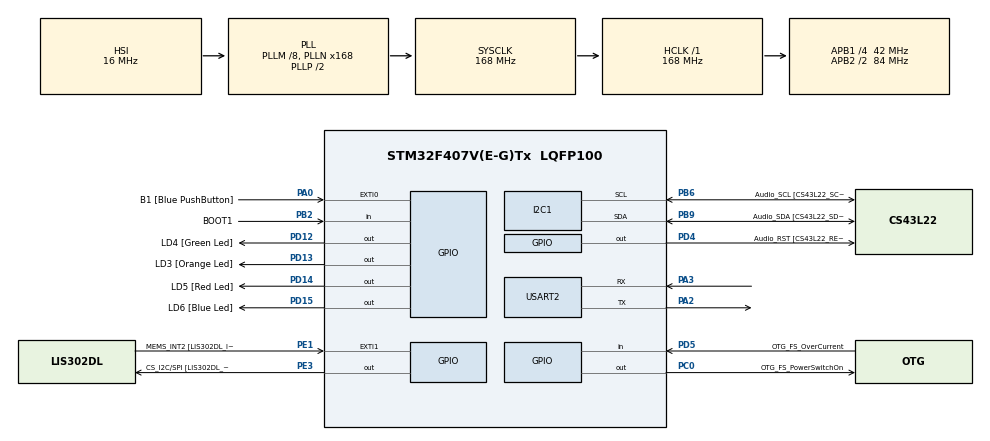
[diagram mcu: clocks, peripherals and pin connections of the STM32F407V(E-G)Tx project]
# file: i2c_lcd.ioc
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Dma.Request0=USART2_TX
Dma.USART2_TX.0.Direction=DMA_MEMORY_TO_PERIPH
Dma.USART2_TX.0.FIFOMode=DMA_FIFOMODE_DISABLE
Dma.USART2_TX.0.Instance=DMA1_Stream6
Dma.USART2_TX.0.MemDataAlignment=DMA_MDATAALIGN_BYTE
Dma.USART2_TX.0.MemInc=DMA_MINC_ENABLE
Dma.USART2_TX.0.Mode=DMA_NORMAL
Dma.USART2_TX.0.PeriphDataAlignment=DMA_PDATAALIGN_BYTE
Dma.USART2_TX.0.PeriphInc=DMA_PINC_DISABLE
Dma.USART2_TX.0.Priority=DMA_PRIORITY_LOW
I2C1.I2C_Mode=I2C_Standard
I2C1.OwnAddress=0
Mcu.Family=STM32F4
Mcu.Name=STM32F407V(E-G)Tx
Mcu.Package=LQFP100
NVIC.DMA1_Stream6_IRQn=true\:0\:0\:false\:false\:true
NVIC.PriorityGroup=NVIC_PRIORITYGROUP_0
PA0-WKUP.GPIO_Label=B1 [Blue PushButton]
PA0-WKUP.Signal=GPXTI0
PA10.GPIO_Label=OTG_FS_ID
PA10.GPIO_Mode=GPIO_MODE_AF_PP
PA10.GPIO_PuPd=GPIO_NOPULL
PA10.GPIO_Speed=GPIO_SPEED_FREQ_LOW
PA10.Signal=USB_OTG_FS_ID
PA11.GPIO_Label=OTG_FS_DM
PA11.GPIO_Mode=GPIO_MODE_AF_PP
PA11.GPIO_PuPd=GPIO_NOPULL
PA11.GPIO_Speed=GPIO_SPEED_FREQ_LOW
PA11.Signal=USB_OTG_FS_DM
PA12.GPIO_Label=OTG_FS_DP
PA12.GPIO_Mode=GPIO_MODE_AF_PP
PA12.GPIO_PuPd=GPIO_NOPULL
PA12.GPIO_Speed=GPIO_SPEED_FREQ_LOW
PA12.Signal=USB_OTG_FS_DP
PA13.GPIO_Label=SWDIO
PA13.Signal=SYS_JTMS-SWDIO
PA14.GPIO_Label=SWCLK
PA14.Signal=SYS_JTCK-SWCLK
PA2.Mode=Asynchronous
PA2.Signal=USART2_TX
PA3.Mode=Asynchronous
PA3.Signal=USART2_RX
PA4.GPIO_Label=I2S3_WS [CS43L22_LRCK]
PA4.GPIO_Mode=GPIO_MODE_AF_PP
PA4.GPIO_PuPd=GPIO_NOPULL
PA4.GPIO_Speed=GPIO_SPEED_FREQ_LOW
PA4.Signal=I2S3_WS
PA5.GPIO_Label=SPI1_SCK [LIS302DL_SCL/SPC]
PA5.GPIO_Mode=GPIO_MODE_AF_PP
PA5.GPIO_PuPd=GPIO_NOPULL
PA5.GPIO_Speed=GPIO_SPEED_FREQ_LOW
PA5.Signal=SPI1_SCK
PA6.GPIO_Label=SPI1_MISO [LIS302DL_SDO]
PA6.GPIO_Mode=GPIO_MODE_AF_PP
PA6.GPIO_PuPd=GPIO_NOPULL
PA6.GPIO_Speed=GPIO_SPEED_FREQ_LOW
PA6.Signal=SPI1_MISO
PA7.GPIO_Label=SPI1_MOSI [LIS302DL_SDA/SDI/SDO]
PA7.GPIO_Mode=GPIO_MODE_AF_PP
PA7.GPIO_PuPd=GPIO_NOPULL
PA7.GPIO_Speed=GPIO_SPEED_FREQ_LOW
PA7.Signal=SPI1_MOSI
PA9.GPIO_Label=VBUS_FS
PA9.GPIO_Mode=GPIO_MODE_INPUT
PA9.GPIO_PuPd=GPIO_NOPULL
PA9.Signal=USB_OTG_FS_VBUS
PB10.GPIO_Label=CLK_IN [MP45DT02_CLK]
PB10.GPIO_Mode=GPIO_MODE_AF_PP
PB10.GPIO_PuPd=GPIO_NOPULL
PB10.GPIO_Speed=GPIO_SPEED_FREQ_LOW
PB10.Signal=I2S2_CK
PB2.GPIO_Label=BOOT1
PB2.GPIO_Mode=GPIO_MODE_INPUT
PB2.GPIO_PuPd=GPIO_NOPULL
PB2.Signal=GPIO_Input
PB3.GPIO_Label=SWO
PB3.Signal=SYS_JTDO-SWO
PB6.GPIO_Label=Audio_SCL [CS43L22_SCL]
PB6.GPIO_Mode=GPIO_MODE_AF_OD
PB6.GPIO_PuPd=GPIO_NOPULL
PB6.GPIO_Speed=GPIO_SPEED_FREQ_LOW
PB6.Mode=I2C
PB6.Signal=I2C1_SCL
PB9.GPIO_Label=Audio_SDA [CS43L22_SDA]
PB9.GPIO_Mode=GPIO_MODE_AF_OD
PB9.GPIO_PuPd=GPIO_NOPULL
PB9.GPIO_Speed=GPIO_SPEED_FREQ_LOW
PB9.Mode=I2C
PB9.Signal=I2C1_SDA
PC0.GPIO_Label=OTG_FS_PowerSwitchOn
PC0.GPIO_PuPd=GPIO_NOPULL
PC0.GPIO_Speed=GPIO_SPEED_FREQ_LOW
PC0.PinState=GPIO_PIN_SET
PC0.Signal=GPIO_Output
PC10.GPIO_Label=I2S3_SCK [CS43L22_SCLK]
PC10.GPIO_Mode=GPIO_MODE_AF_PP
PC10.GPIO_PuPd=GPIO_NOPULL
PC10.GPIO_Speed=GPIO_SPEED_FREQ_LOW
PC10.Signal=I2S3_CK
PC12.GPIO_Label=I2S3_SD [CS43L22_SDIN]
PC12.GPIO_Mode=GPIO_MODE_AF_PP
PC12.GPIO_PuPd=GPIO_NOPULL
PC12.GPIO_Speed=GPIO_SPEED_FREQ_LOW
PC12.Signal=I2S3_SD
PC14-OSC32_IN.GPIO_Label=PC14-OSC32_IN
PC14-OSC32_IN.Signal=RCC_OSC32_IN
PC15-OSC32_OUT.GPIO_Label=PC15-OSC32_OUT
PC15-OSC32_OUT.Signal=RCC_OSC32_OUT
PC3.GPIO_Label=PDM_OUT [MP45DT02_DOUT]
PC3.GPIO_Mode=GPIO_MODE_AF_PP
PC3.GPIO_PuPd=GPIO_NOPULL
PC3.GPIO_Speed=GPIO_SPEED_FREQ_LOW
PC3.Signal=I2S2_SD
PC7.GPIO_Label=I2S3_MCK [CS43L22_MCLK]
PC7.GPIO_Mode=GPIO_MODE_AF_PP
PC7.GPIO_PuPd=GPIO_NOPULL
PC7.GPIO_Speed=GPIO_SPEED_FREQ_LOW
PC7.Signal=I2S3_MCK
PD12.GPIO_Label=LD4 [Green Led]
PD12.GPIO_PuPd=GPIO_NOPULL
PD12.GPIO_Speed=GPIO_SPEED_FREQ_LOW
PD12.Signal=GPIO_Output
PD13.GPIO_Label=LD3 [Orange Led]
PD13.GPIO_PuPd=GPIO_NOPULL
PD13.GPIO_Speed=GPIO_SPEED_FREQ_LOW
PD13.Signal=GPIO_Output
PD14.GPIO_Label=LD5 [Red Led]
PD14.GPIO_PuPd=GPIO_NOPULL
PD14.GPIO_Speed=GPIO_SPEED_FREQ_LOW
PD14.Signal=GPIO_Output
PD15.GPIO_Label=LD6 [Blue Led]
PD15.GPIO_PuPd=GPIO_NOPULL
PD15.GPIO_Speed=GPIO_SPEED_FREQ_LOW
PD15.Signal=GPIO_Output
PD4.GPIO_Label=Audio_RST [CS43L22_RESET]
PD4.GPIO_PuPd=GPIO_NOPULL
PD4.GPIO_Speed=GPIO_SPEED_FREQ_LOW
PD4.Signal=GPIO_Output
PD5.GPIO_Label=OTG_FS_OverCurrent
PD5.GPIO_Mode=GPIO_MODE_INPUT
PD5.GPIO_PuPd=GPIO_NOPULL
PD5.Signal=GPIO_Input
PE1.GPIO_Label=MEMS_INT2 [LIS302DL_INT2]
PE1.GPIO_ModeDefaultEXTI=GPIO_MODE_EVT_RISING
PE1.GPIO_PuPd=GPIO_NOPULL
PE1.Signal=GPXTI1
PE3.GPIO_Label=CS_I2C/SPI [LIS302DL_CS_I2C/SPI]
PE3.GPIO_PuPd=GPIO_NOPULL
PE3.GPIO_Speed=GPIO_SPEED_FREQ_LOW
PE3.Signal=GPIO_Output
PH0-OSC_IN.GPIO_Label=PH0-OSC_IN
PH0-OSC_IN.Mode=HSE-External-Oscillator
PH0-OSC_IN.Signal=RCC_OSC_IN
PH1-OSC_OUT.GPIO_Label=PH1-OSC_OUT
PH1-OSC_OUT.Mode=HSE-External-Oscillator
PH1-OSC_OUT.Signal=RCC_OSC_OUT
ProjectManager.HeapSize=0x200
ProjectManager.StackSize=0x400
ProjectManager.TargetToolchain=SW4STM32
RCC.48MHZClocksFreq_Value=48000000
RCC.AHBFreq_Value=168000000
RCC.APB1CLKDivider=RCC_HCLK_DIV4
RCC.APB1Freq_Value=42000000
RCC.APB1TimFreq_Value=84000000
RCC.APB2CLKDivider=RCC_HCLK_DIV2
RCC.APB2Freq_Value=84000000
RCC.APB2TimFreq_Value=168000000
RCC.CortexFreq_Value=168000000
RCC.HCLKFreq_Value=168000000
RCC.HSE_VALUE=8000000
RCC.HSI_VALUE=16000000
RCC.LSE_VALUE=32768
RCC.PLLM=8
RCC.PLLN=168
RCC.PLLQ=7
RCC.SYSCLKFreq_VALUE=168000000
RCC.SYSCLKSource=RCC_SYSCLKSOURCE_PLLCLK
RCC.VCOOutputFreq_Value=336000000
board=STM32F407G-DISC1

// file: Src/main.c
/**
  ******************************************************************************
  * File Name          : main.c
  * Description        : Main program body
  ******************************************************************************
  *
  * COPYRIGHT(c) 2017 STMicroelectronics
  *
  * Redistribution and use in source and binary forms, with or without modification,
  * are permitted provided that the following conditions are met:
  *   1. Redistributions of source code must retain the above copyright notice,
  *      this list of conditions and the following disclaimer.
  *   2. Redistributions in binary form must reproduce the above copyright notice,
  *      this list of conditions and the following disclaimer in the documentation
  *      and/or other materials provided with the distribution.
  *   3. Neither the name of STMicroelectronics nor the names of its contributors
  *      may be used to endorse or promote products derived from this software
  *      without specific prior written permission.
  *
  * THIS SOFTWARE IS PROVIDED BY THE COPYRIGHT HOLDERS AND CONTRIBUTORS "AS IS"
  * AND ANY EXPRESS OR IMPLIED WARRANTIES, INCLUDING, BUT NOT LIMITED TO, THE
  * IMPLIED WARRANTIES OF MERCHANTABILITY AND FITNESS FOR A PARTICULAR PURPOSE ARE
  * DISCLAIMED. IN NO EVENT SHALL THE COPYRIGHT HOLDER OR CONTRIBUTORS BE LIABLE
  * FOR ANY DIRECT, INDIRECT, INCIDENTAL, SPECIAL, EXEMPLARY, OR CONSEQUENTIAL
  * DAMAGES (INCLUDING, BUT NOT LIMITED TO, PROCUREMENT OF SUBSTITUTE GOODS OR
  * SERVICES; LOSS OF USE, DATA, OR PROFITS; OR BUSINESS INTERRUPTION) HOWEVER
  * CAUSED AND ON ANY THEORY OF LIABILITY, WHETHER IN CONTRACT, STRICT LIABILITY,
  * OR TORT (INCLUDING NEGLIGENCE OR OTHERWISE) ARISING IN ANY WAY OUT OF THE USE
  * OF THIS SOFTWARE, EVEN IF ADVISED OF THE POSSIBILITY OF SUCH DAMAGE.
  *
  ******************************************************************************
  */
#include "main.h"
#include "stm32f4xx_hal.h"
#include "dma.h"
#include "i2c.h"
#include "usart.h"
#include "gpio.h"

/* USER CODE BEGIN Includes */
//#define LCD_ADD     0x3E<<1 // Gareth added
#define LCD_ADD	0x27<<1
#include "string.h"
#include "stdbool.h"
#include "hd44780.h"
#include "pcf8574.h"

/* USER CODE END Includes */

/* USER CODE BEGIN PV */
/* Private variables ---------------------------------------------------------*/

/* USER CODE END PV */

void SystemClock_Config(void);
void Error_Handler(void);

/* USER CODE BEGIN PFP */
/* Private function prototypes -----------------------------------------------*/

/* USER CODE END PFP */

/* USER CODE BEGIN 0 */
static volatile bool serialComDone;
LCD_PCF8574_HandleTypeDef	lcd;
uint32_t rand(void);

/*
 * The following two functions are used to support the stdio output functions
 */

int _write(int file, char *outgoing, int len) {
  HAL_StatusTypeDef status;

  serialComDone = false;
  status = HAL_UART_Transmit_DMA(&huart2, (uint8_t *) outgoing, len);
  if (HAL_OK != status) {
    serialComDone = true;

    len = -1;
  }

  while (serialComDone == false) {
    /* Hang around until the DMA complete interrupt fires */
  }
  return (len);
}

void HAL_UART_TxCpltCallback(UART_HandleTypeDef* huart) {
	serialComDone = true;
}
/* USER CODE END 0 */

int main(void)
{

  /* MCU Configuration----------------------------------------------------------*/

  /* Reset of all peripherals, Initializes the Flash interface and the Systick. */
  HAL_Init();

  /* Configure the system clock */
  SystemClock_Config();

  /* Initialize all configured peripherals */
  MX_GPIO_Init();
  MX_DMA_Init();
  MX_I2C1_Init();
  MX_USART2_UART_Init();
  HAL_NVIC_SetPriorityGrouping(NVIC_PRIORITYGROUP_4);
  HAL_NVIC_SetPriority(SysTick_IRQn, 0, 1);

  lcd.pcf8574.PCF_I2C_ADDRESS = 0x27;
  lcd.pcf8574.PCF_I2C_TIMEOUT = 1000;
  lcd.pcf8574.i2c.Instance = I2C1;
  lcd.pcf8574.i2c.Init.ClockSpeed = 400000;
  lcd.NUMBER_OF_LINES = NUMBER_OF_LINES_2;
  lcd.type = TYPE0;

  if(LCD_Init(&lcd)!=LCD_OK){
      // error occured
      while(1);
  }

  void fizzbuzz() {
    LCD_ClearDisplay(&lcd);
    LCD_SetLocation(&lcd, 0, 0);
    LCD_WriteString(&lcd, "Count:");
    LCD_SetLocation(&lcd, 0, 1);
    LCD_WriteString(&lcd, "Fizz:");
    LCD_SetLocation(&lcd, 20, 0);
    LCD_WriteString(&lcd, "Buzz:");
    LCD_SetLocation(&lcd, 20, 1);
    LCD_WriteString(&lcd, "FizzBuzz:");
  }

  void message() {
    LCD_ClearDisplay(&lcd);
    LCD_SetLocation(&lcd, 0, 0);
    LCD_WriteString(&lcd, "Hey, look Ben");
    LCD_SetLocation(&lcd, 0, 1);
    LCD_WriteString(&lcd, "I made you a nerdy");
    LCD_SetLocation(&lcd, 20, 0);
    LCD_WriteString(&lcd, "greeting on a screen");
    LCD_SetLocation(&lcd, 20, 1);
    LCD_WriteString(&lcd, "You're welcome.");
  }
  fizzbuzz();

  uint32_t count = 0;
  uint8_t tab1 = 10;
  uint8_t tab2 = 30;
  uint8_t places = 0;
  uint8_t first_line = 0;
  uint8_t second_line = 1;

  while (1) {
    //uint32_t r = rand();

    count++;
    LCD_SetLocation(&lcd, tab1, first_line);
    LCD_WriteNumber(&lcd, count, 10);
    if (count % 3 == 0 && count % 5 == 0 ) { // FizzBuzz
      LCD_SetLocation(&lcd, tab2, second_line);
      LCD_WriteFloat(&lcd, count, places);
      //LCD_ClearDisplay(&lcd);
      //HAL_Delay(1000);
      //fizzbuzz();
    } else {
      if (count % 3 == 0) { // Fizz
        LCD_SetLocation(&lcd, tab1, second_line);
        LCD_WriteFloat(&lcd, count, places);
      } else if (count % 5 == 0) { // Buzz
        LCD_SetLocation(&lcd, tab2, first_line);
        LCD_WriteFloat(&lcd,count, places);
      }
    }

    HAL_Delay(200);
  } // end while loop
}

/** System Clock Configuration
*/
void SystemClock_Config(void)
{

  RCC_OscInitTypeDef RCC_OscInitStruct;
  RCC_ClkInitTypeDef RCC_ClkInitStruct;

    /**Configure the main internal regulator output voltage
    */
  __HAL_RCC_PWR_CLK_ENABLE();

  __HAL_PWR_VOLTAGESCALING_CONFIG(PWR_REGULATOR_VOLTAGE_SCALE1);

    /**Initializes the CPU, AHB and APB busses clocks
    */
  RCC_OscInitStruct.OscillatorType = RCC_OSCILLATORTYPE_HSI;
  RCC_OscInitStruct.HSIState = RCC_HSI_ON;
  RCC_OscInitStruct.HSICalibrationValue = 16;
  RCC_OscInitStruct.PLL.PLLState = RCC_PLL_ON;
  RCC_OscInitStruct.PLL.PLLSource = RCC_PLLSOURCE_HSI;
  RCC_OscInitStruct.PLL.PLLM = 8;
  RCC_OscInitStruct.PLL.PLLN = 168;
  RCC_OscInitStruct.PLL.PLLP = RCC_PLLP_DIV2;
  RCC_OscInitStruct.PLL.PLLQ = 7;
  if (HAL_RCC_OscConfig(&RCC_OscInitStruct) != HAL_OK)
  {
    Error_Handler();
  }

    /**Initializes the CPU, AHB and APB busses clocks
    */
  RCC_ClkInitStruct.ClockType = RCC_CLOCKTYPE_HCLK|RCC_CLOCKTYPE_SYSCLK
                              |RCC_CLOCKTYPE_PCLK1|RCC_CLOCKTYPE_PCLK2;
  RCC_ClkInitStruct.SYSCLKSource = RCC_SYSCLKSOURCE_PLLCLK;
  RCC_ClkInitStruct.AHBCLKDivider = RCC_SYSCLK_DIV1;
  RCC_ClkInitStruct.APB1CLKDivider = RCC_HCLK_DIV4;
  RCC_ClkInitStruct.APB2CLKDivider = RCC_HCLK_DIV2;

  if (HAL_RCC_ClockConfig(&RCC_ClkInitStruct, FLASH_LATENCY_5) != HAL_OK)
  {
    Error_Handler();
  }

    /**Configure the Systick interrupt time
    */
  HAL_SYSTICK_Config(HAL_RCC_GetHCLKFreq()/1000);

    /**Configure the Systick
    */
  HAL_SYSTICK_CLKSourceConfig(SYSTICK_CLKSOURCE_HCLK);

  /* SysTick_IRQn interrupt configuration */
  HAL_NVIC_SetPriority(SysTick_IRQn, 0, 0);
}

void Error_Handler(void)
{
  /* USER CODE BEGIN Error_Handler */
  /* User can add his own implementation to report the HAL error return state */
  while(1)
  {
  }
}

/************************ (C) COPYRIGHT STMicroelectronics *****END OF FILE****/
